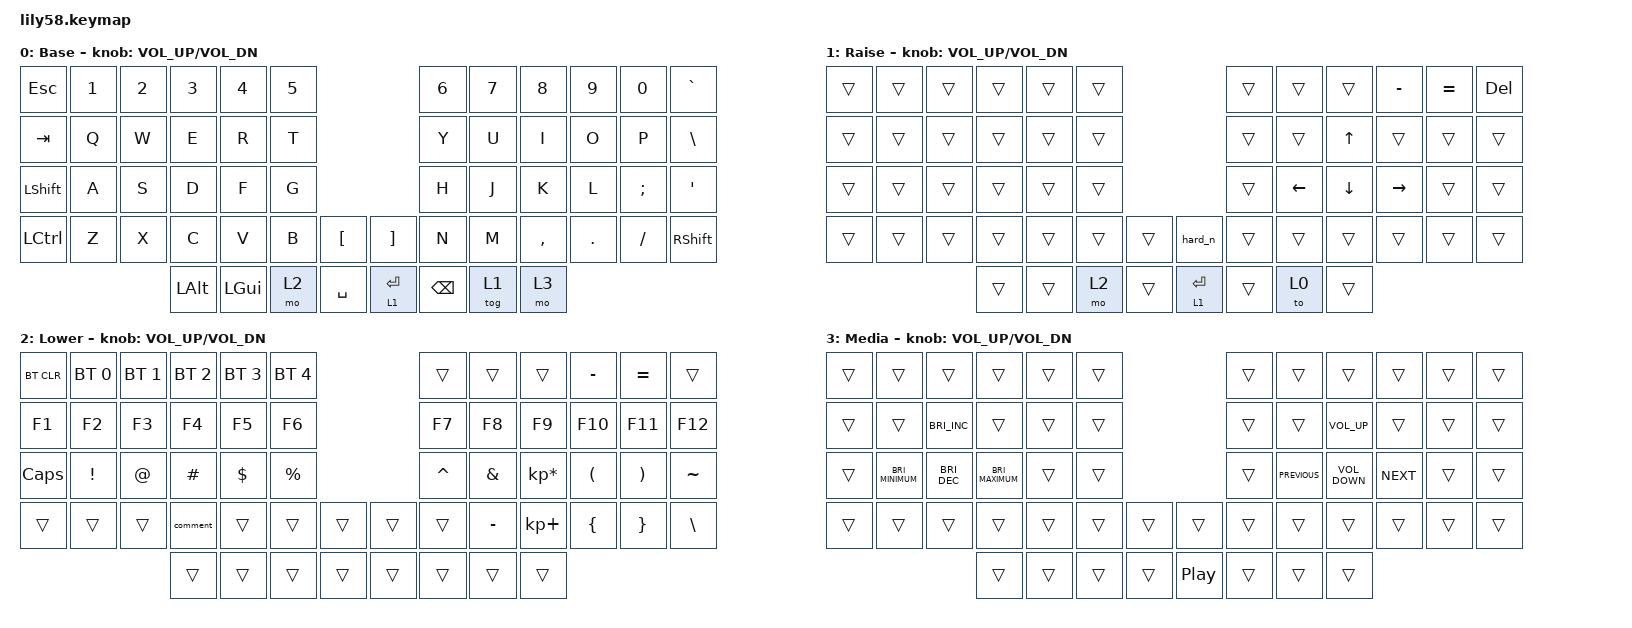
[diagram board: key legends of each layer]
/*
 * Copyright (c) 2020 The ZMK Contributors
 *
 * SPDX-License-Identifier: MIT
 */

#include <behaviors.dtsi>
#include <dt-bindings/zmk/bt.h>
#include <dt-bindings/zmk/keys.h>

/ {
    macros {
        comment: comment {
            compatible = "zmk,behavior-macro";
            #binding-cells = <0>;

            // /*!'\n'

            bindings = <&macro_tap>, <&kp SLASH &kp ASTRK &kp EXCL &kp RET>;
        };

        hard_n: hard_n {
            compatible = "zmk,behavior-macro";
            #binding-cells = <0>;
            wait-ms = <16>;
            tap-ms = <0>;
            bindings = <&macro_tap>, <&kp N &kp N &kp N &kp N &kp N &kp N>;
        };
    };

    keymap {
        compatible = "zmk,keymap";

        default_layer {
            // ------------------------------------------------------------------------------------------------------------
            // |  ESC  |  1  |  2  |  3   |  4   |  5   |                   |  6   |  7    |  8    |  9   |   0   |   `   |
            // |  TAB  |  Q  |  W  |  E   |  R   |  T   |                   |  Y   |  U    |  I    |  O   |   P   |   \   |
            // |  SHIFT |  A  |  S  |  D   |  F   |  G   |                   |  H   |  J    |  K    |  L   |   ;   |   '   |
            // | CTRL |  Z  |  X  |  C   |  V   |  B   |   "["  |  |  "]"  |  N   |  M    |  ,    |  .   |   /   | SHIFT |
            //                     | ALT  | GUI  | LOWER|  SPACE |  | ENTER/RAISE | RAISE| BSPC  | 3rd  |

            label = "Base";
            bindings = <
&kp ESC    &kp N1  &kp N2  &kp N3    &kp N4    &kp N5                          &kp N6    &kp N7  &kp N8     &kp N9   &kp N0    &kp GRAVE
&kp TAB    &kp Q   &kp W   &kp E     &kp R     &kp T                           &kp Y     &kp U   &kp I      &kp O    &kp P     &kp BACKSLASH
&kp LSHFT  &kp A   &kp S   &kp D     &kp F     &kp G                           &kp H     &kp J   &kp K      &kp L    &kp SEMI  &kp SQT
&kp LCTRL  &kp Z   &kp X   &kp C     &kp V     &kp B   &kp LBKT     &kp RBKT   &kp N     &kp M   &kp COMMA  &kp DOT  &kp FSLH  &kp RSHFT
                           &kp LALT  &kp LGUI  &mo 2   &kp SPACE    &lt 1 RET  &kp BSPC  &tog 1  &mo 3
            >;

            sensor-bindings = <&inc_dec_kp C_VOL_UP C_VOL_DN>;
        };

        lower_layer {
            // ------------------------------------------------------------------------------------------------------------
            // |       |     |     |      |      |      |                   |      |       |       |   -   |   =    |   del   |
            // |      |    |    |     |     |     |                   |     |      |   ^   |     |      |       |
            // |     |   |   |    |    |    |                   |      |   <-  |   v   |  ->  |       |       |
            // |     |   |   |   |   |   |        |  |       |  +   |   -   |   =   |  [   |   ]   |   \   |
            //                     |      |      |      |        |  |       |      |       |       |

            label = "Raise";
            bindings = <
&trans  &trans  &trans  &trans  &trans  &trans                       &trans  &trans    &trans    &kp MINUS  &kp EQUAL  &kp DELETE
&trans  &trans  &trans  &trans  &trans  &trans                       &trans  &trans    &kp UP    &trans     &trans     &trans
&trans  &trans  &trans  &trans  &trans  &trans                       &trans  &kp LEFT  &kp DOWN  &kp RIGHT  &trans     &trans
&trans  &trans  &trans  &trans  &trans  &trans  &trans    &hard_n    &trans  &trans    &trans    &trans     &trans     &trans
                        &trans  &trans  &mo 2   &trans    &lt 1 RET  &trans  &to 0     &trans
            >;

            sensor-bindings = <&inc_dec_kp C_VOL_UP C_VOL_DN>;
        };

        raise_layer {
            // ------------------------------------------------------------------------------------------------------------
            // | BTCLR | BT1 | BT2 |  BT3 |  BT4 |  BT5 |                   |      |       |       |   -  |   +   |       |
            // |  F1   |  F2 |  F3 |  F4  |  F5  |  F6  |                   |  F7  |  F8   |  F9   |  F10 |  F11  |  F12  |
            // |  CAPS |  !  |  @  |  #   |  $   |  %   |                   |  ^   |  &    |  *    |  (   |   )   |   ~   |
            // |       |     |     |      |      |      |        |  |       |      |  _    |  +    |  {   |   }   |  \  |
            //                     |      |      |      |        |  |       |      |       |       |

            label = "Lower";
            bindings = <
&bt BT_CLR  &bt BT_SEL 0  &bt BT_SEL 1  &bt BT_SEL 2  &bt BT_SEL 3  &bt BT_SEL 4                    &trans     &trans     &trans           &kp MINUS  &kp EQUAL  &trans
&kp F1      &kp F2        &kp F3        &kp F4        &kp F5        &kp F6                          &kp F7     &kp F8     &kp F9           &kp F10    &kp F11    &kp F12
&kp CAPS    &kp EXCL      &kp AT        &kp HASH      &kp DOLLAR    &kp PRCNT                       &kp CARET  &kp AMPS   &kp KP_MULTIPLY  &kp LPAR   &kp RPAR   &kp TILDE
&trans      &trans        &trans        &comment      &trans        &trans        &trans    &trans  &trans     &kp MINUS  &kp KP_PLUS      &kp LBRC   &kp RBRC   &kp BACKSLASH
                                        &trans        &trans        &trans        &trans    &trans  &trans     &trans     &trans
            >;

            sensor-bindings = <&inc_dec_kp C_VOL_UP C_VOL_DN>;
        };

        media_layer {
            // ------------------------------------------------------------------------------------------------------------
            // |       |     |     |      |      |      |                   |      |       |       |       |       |       |
            // |       |     |     |      |      |      |                   |      |       |   VolUp    |       |       |       |
            // |       |     |     |      |      |      |                   |      |  PREV   |   VolDn    |   NEXT   |       |       |
            // |       |     |     |      |      |      |        |  |       |      |       |       |       |       |       |
            //                     |      |      |      |        |  |   PP  |      |       |       |

            label = "Media";
            bindings = <
&trans  &trans                    &trans                &trans                    &trans  &trans                      &trans  &trans          &trans             &trans      &trans  &trans
&trans  &trans                    &kp C_BRIGHTNESS_INC  &trans                    &trans  &trans                      &trans  &trans          &kp C_VOLUME_UP    &trans      &trans  &trans
&trans  &kp C_BRIGHTNESS_MINIMUM  &kp C_BRIGHTNESS_DEC  &kp C_BRIGHTNESS_MAXIMUM  &trans  &trans                      &trans  &kp C_PREVIOUS  &kp C_VOLUME_DOWN  &kp C_NEXT  &trans  &trans
&trans  &trans                    &trans                &trans                    &trans  &trans  &trans    &trans    &trans  &trans          &trans             &trans      &trans  &trans
                                                        &trans                    &trans  &trans  &trans    &kp C_PP  &trans  &trans          &trans
            >;

            sensor-bindings = <&inc_dec_kp C_VOL_UP C_VOL_DN>;
        };

        // paste new layers here
    };
};
